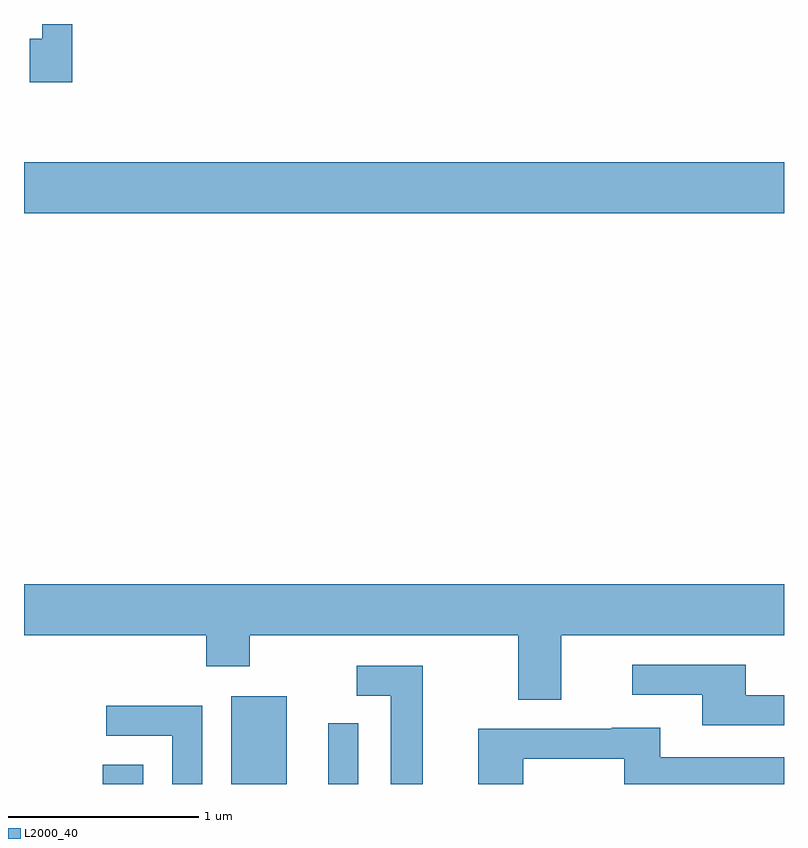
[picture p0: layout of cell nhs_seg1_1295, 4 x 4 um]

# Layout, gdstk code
import gdstk
lib = gdstk.Library(unit=1e-6, precision=1e-09)
def R(c, l, rs):  # rectangles x0, y0, x1, y1
    for r in rs: c.add(gdstk.rectangle(r[:2], r[2:], *l))
def P(c, l, *ps):  # polygons
    for p in ps: c.add(gdstk.Polygon(p, *l))
L2000_40 = (2000, 40)

nhs_seg1_1295 = lib.new_cell('nhs_seg1_1295')
R(nhs_seg1_1295, L2000_40, [(226.026,867.712,226.239,867.814), (226.701,867.712,226.994,868.174), (227.211,867.712,227.369,868.033), (225.611,870.716,229.611,870.984)])
P(nhs_seg1_1295, L2000_40, [(225.864,871.712),(225.706,871.712),(225.706,871.634),(225.641,871.634),(225.641,871.406),(225.864,871.406)],
  [(228.439,868.496),(229.611,868.496),(229.611,868.764),(225.611,868.764),(225.611,868.496),(226.571,868.496),(226.571,868.331),(226.799,868.331),(226.799,868.496),(228.211,868.496),(228.211,868.156),(228.439,868.156)],
  [(229.611,868.179),(229.409,868.179),(229.409,868.339),(228.813,868.339),(228.813,868.181),(229.181,868.181),(229.181,868.021),(229.611,868.021)],
  [(227.709,868.334),(227.363,868.334),(227.363,868.176),(227.541,868.176),(227.541,867.712),(227.709,867.712)],
  [(226.549,868.124),(226.043,868.124),(226.043,867.966),(226.391,867.966),(226.391,867.712),(226.549,867.712)],
  [(228.239,867.846),(228.771,867.846),(228.771,867.712),(229.611,867.712),(229.611,867.854),(228.959,867.854),(228.959,868.009),(228.705,868.009),(228.705,868.004),(228.001,868.004),(228.001,867.712),(228.239,867.712)])

lib.write_gds('nhs_seg1_1295.gds')
